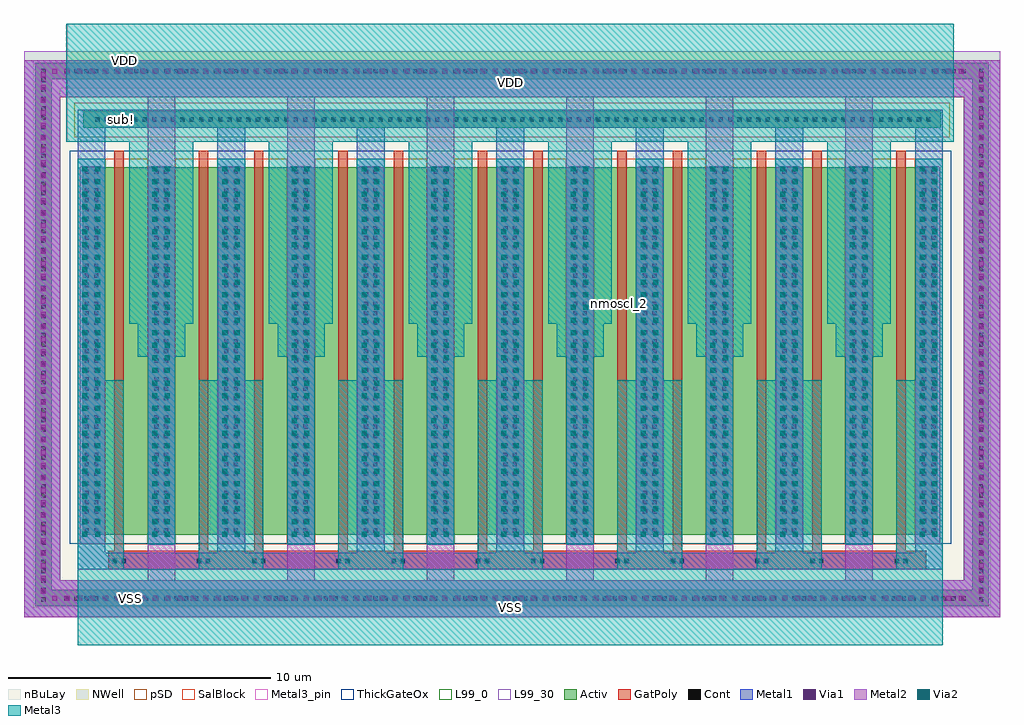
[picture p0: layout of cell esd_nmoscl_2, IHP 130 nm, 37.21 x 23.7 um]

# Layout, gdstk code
import gdstk
lib = gdstk.Library(unit=1e-6, precision=1e-09)
def R(c, l, rs):  # rectangles x0, y0, x1, y1
    for r in rs: c.add(gdstk.rectangle(r[:2], r[2:], *l))
def A(c, l, x, y, w, h, nx, ny, dx, dy):  # array of equal rectangles
    R(c, l, [(x+i*dx, y+j*dy, x+i*dx+w, y+j*dy+h) for i in range(nx) for j in range(ny)])
def P(c, l, *ps):  # polygons
    for p in ps: c.add(gdstk.Polygon(p, *l))
Activ = (1, 0)
GatPoly = (5, 0)
Cont = (6, 0)
Metal1 = (8, 0)
Metal2 = (10, 0)
pSD = (14, 0)
Via1 = (19, 0)
SalBlock = (28, 0)
Via2 = (29, 0)
Metal3 = (30, 0)
Metal3_pin = (30, 2)
NWell = (31, 0)
nBuLay = (32, 0)
ThickGateOx = (44, 0)
L99_0 = (99, 0)
L99_30 = (99, 30)

esd_nmoscl_2 = lib.new_cell('esd_nmoscl_2')
R(esd_nmoscl_2, Activ, [(0,16.71,32.71,17.34)])
P(esd_nmoscl_2, Activ, [(-1.83,-1.53),(-1.83,-0.9),(33.91,-0.9),(33.91,18.57),(-1.2,18.57),(-1.2,-0.9),(-1.83,-0.9),(-1.83,19.2),(34.54,19.2),(34.54,-1.53)],
  [(0,1.2),(0,1.21),(-0.005,1.21),(-0.005,15.19),(0,15.19),(0,15.21),(32.57,15.21),(32.57,15.19),(32.575,15.19),(32.575,1.21),(32.57,1.21),(32.57,1.2)])
P(esd_nmoscl_2, GatPoly, [(0.96,-0.12),(0.96,0.59),(1.2,0.59),(1.2,15.84),(1.56,15.84),(1.56,0.59),(4.41,0.59),(4.41,15.84),(4.77,15.84),(4.77,0.59),(6.52,0.59),(6.52,15.84),(6.88,15.84),(6.88,0.59),(9.73,0.59),(9.73,15.84),(10.09,15.84),(10.09,0.59),(11.84,0.59),(11.84,15.84),(12.2,15.84),(12.2,0.59),(15.05,0.59),(15.05,15.84),(15.41,15.84),(15.41,0.59),(17.16,0.59),(17.16,15.84),(17.52,15.84),(17.52,0.59),(20.37,0.59),(20.37,15.84),(20.73,15.84),(20.73,0.59),(22.48,0.59),(22.48,15.84),(22.84,15.84),(22.84,0.59),(25.69,0.59),(25.69,15.84),(26.05,15.84),(26.05,0.59),(27.8,0.59),(27.8,15.84),(28.16,15.84),(28.16,0.59),(31.01,0.59),(31.01,15.84),(31.37,15.84),(31.37,0.59),(32.14,0.59),(32.14,-0.12)])
A(esd_nmoscl_2, Cont, -1.59, -1.35, 0.16, 0.16, 1, 57, 0, 0.36)
A(esd_nmoscl_2, Cont, 34.17, -1.35, 0.16, 0.16, 1, 57, 0, 0.36)
A(esd_nmoscl_2, Cont, -0.71, -1.315, 0.16, 0.16, 91, 2, 0.38, 20.1)
A(esd_nmoscl_2, Cont, 0.065, 1.28, 0.16, 0.16, 1, 39, 0, 0.36)
A(esd_nmoscl_2, Cont, 0.425, 1.28, 0.16, 0.16, 1, 39, 0, 0.36)
A(esd_nmoscl_2, Cont, 2.725, 1.28, 0.16, 0.16, 1, 39, 0, 0.36)
A(esd_nmoscl_2, Cont, 3.085, 1.28, 0.16, 0.16, 1, 39, 0, 0.36)
A(esd_nmoscl_2, Cont, 5.385, 1.28, 0.16, 0.16, 1, 39, 0, 0.36)
A(esd_nmoscl_2, Cont, 5.745, 1.28, 0.16, 0.16, 1, 39, 0, 0.36)
A(esd_nmoscl_2, Cont, 8.045, 1.28, 0.16, 0.16, 1, 39, 0, 0.36)
A(esd_nmoscl_2, Cont, 8.405, 1.28, 0.16, 0.16, 1, 39, 0, 0.36)
A(esd_nmoscl_2, Cont, 10.705, 1.28, 0.16, 0.16, 1, 39, 0, 0.36)
A(esd_nmoscl_2, Cont, 11.065, 1.28, 0.16, 0.16, 1, 39, 0, 0.36)
A(esd_nmoscl_2, Cont, 13.365, 1.28, 0.16, 0.16, 1, 39, 0, 0.36)
A(esd_nmoscl_2, Cont, 13.725, 1.28, 0.16, 0.16, 1, 39, 0, 0.36)
A(esd_nmoscl_2, Cont, 16.025, 1.28, 0.16, 0.16, 1, 39, 0, 0.36)
A(esd_nmoscl_2, Cont, 16.385, 1.28, 0.16, 0.16, 1, 39, 0, 0.36)
A(esd_nmoscl_2, Cont, 18.685, 1.28, 0.16, 0.16, 1, 39, 0, 0.36)
A(esd_nmoscl_2, Cont, 19.045, 1.28, 0.16, 0.16, 1, 39, 0, 0.36)
A(esd_nmoscl_2, Cont, 21.345, 1.28, 0.16, 0.16, 1, 39, 0, 0.36)
A(esd_nmoscl_2, Cont, 21.705, 1.28, 0.16, 0.16, 1, 39, 0, 0.36)
A(esd_nmoscl_2, Cont, 24.005, 1.28, 0.16, 0.16, 1, 39, 0, 0.36)
A(esd_nmoscl_2, Cont, 24.365, 1.28, 0.16, 0.16, 1, 39, 0, 0.36)
A(esd_nmoscl_2, Cont, 26.665, 1.28, 0.16, 0.16, 1, 39, 0, 0.36)
A(esd_nmoscl_2, Cont, 27.025, 1.28, 0.16, 0.16, 1, 39, 0, 0.36)
A(esd_nmoscl_2, Cont, 29.325, 1.28, 0.16, 0.16, 1, 39, 0, 0.36)
A(esd_nmoscl_2, Cont, 29.685, 1.28, 0.16, 0.16, 1, 39, 0, 0.36)
A(esd_nmoscl_2, Cont, 31.985, 1.28, 0.16, 0.16, 1, 39, 0, 0.36)
A(esd_nmoscl_2, Cont, 32.345, 1.28, 0.16, 0.16, 1, 39, 0, 0.36)
A(esd_nmoscl_2, Cont, 0.47, 16.945, 0.16, 0.16, 89, 1, 0.36, 0)
R(esd_nmoscl_2, Cont, [(1.13,0.115,1.29,0.275), (1.47,0.115,1.63,0.275), (4.34,0.115,4.5,0.275), (4.68,0.115,4.84,0.275), (6.45,0.115,6.61,0.275), (6.79,0.115,6.95,0.275), (9.66,0.115,9.82,0.275), (10,0.115,10.16,0.275), (11.77,0.115,11.93,0.275), (12.11,0.115,12.27,0.275), (14.98,0.115,15.14,0.275), (15.32,0.115,15.48,0.275), (17.09,0.115,17.25,0.275), (17.43,0.115,17.59,0.275), (20.3,0.115,20.46,0.275), (20.64,0.115,20.8,0.275), (22.41,0.115,22.57,0.275), (22.75,0.115,22.91,0.275), (25.62,0.115,25.78,0.275), (25.96,0.115,26.12,0.275), (27.73,0.115,27.89,0.275), (28.07,0.115,28.23,0.275), (30.94,0.115,31.1,0.275), (31.28,0.115,31.44,0.275)])
P(esd_nmoscl_2, Metal1, [(23.74,0.81),(23.74,15.21),(23.87,15.21),(23.87,15.245),(24.64,15.245),(24.64,15.21),(24.79,15.21),(24.79,0.81)],
  [(29.06,0.81),(29.06,15.21),(29.19,15.21),(29.19,15.245),(29.96,15.245),(29.96,15.21),(30.11,15.21),(30.11,0.81)],
  [(18.42,0.81),(18.42,15.21),(18.55,15.21),(18.55,15.245),(19.32,15.245),(19.32,15.21),(19.47,15.21),(19.47,0.81)],
  [(-2.25,-1.95),(-2.25,-0.54),(33.58,-0.54),(33.58,17.88),(-0.87,17.88),(-0.87,-0.54),(-2.25,-0.54),(-2.25,19.29),(34.96,19.29),(34.96,-1.95)],
  [(2.46,0.81),(2.46,15.21),(2.59,15.21),(2.59,15.245),(3.36,15.245),(3.36,15.21),(3.51,15.21),(3.51,0.81)],
  [(13.1,0.81),(13.1,15.21),(13.23,15.21),(13.23,15.245),(14,15.245),(14,15.21),(14.15,15.21),(14.15,0.81)],
  [(-0.21,-0.12),(-0.21,0.51),(31.73,0.51),(31.73,16.71),(27.46,16.71),(27.46,0.51),(26.39,0.51),(26.39,16.71),(22.14,16.71),(22.14,0.51),(21.07,0.51),(21.07,16.71),(16.82,16.71),(16.82,0.51),(15.75,0.51),(15.75,16.71),(11.5,16.71),(11.5,0.51),(10.43,0.51),(10.43,16.71),(6.18,16.71),(6.18,0.51),(5.11,0.51),(5.11,16.71),(0.84,16.71),(0.84,0.51),(-0.21,0.51),(-0.21,17.4),(32.77,17.4),(32.77,17.37),(32.78,17.37),(32.78,-0.12)],
  [(7.78,0.81),(7.78,15.21),(7.91,15.21),(7.91,15.245),(8.68,15.245),(8.68,15.21),(8.83,15.21),(8.83,0.81)])
P(esd_nmoscl_2, Metal2, [(26.41,0.84),(26.41,15.21),(26.53,15.21),(26.53,15.24),(27.3,15.24),(27.3,15.21),(27.44,15.21),(27.44,0.84)],
  [(-0.12,0.84),(-0.12,15.21),(-0.07,15.21),(-0.07,15.24),(0.7,15.24),(0.7,15.21),(0.84,15.21),(0.84,0.84)],
  [(10.45,0.84),(10.45,15.21),(10.57,15.21),(10.57,15.24),(11.34,15.24),(11.34,15.21),(11.48,15.21),(11.48,0.84)],
  [(31.73,0.84),(31.73,15.21),(31.85,15.21),(31.85,15.24),(32.62,15.24),(32.62,15.21),(32.69,15.21),(32.69,0.84)],
  [(15.77,0.84),(15.77,15.21),(15.89,15.21),(15.89,15.24),(16.66,15.24),(16.66,15.21),(16.8,15.21),(16.8,0.84)],
  [(5.13,0.84),(5.13,15.21),(5.25,15.21),(5.25,15.24),(6.02,15.24),(6.02,15.21),(6.16,15.21),(6.16,0.84)],
  [(21.09,0.84),(21.09,15.21),(21.21,15.21),(21.21,15.24),(21.98,15.24),(21.98,15.21),(22.12,15.21),(22.12,0.84)],
  [(-2.25,-1.95),(-2.25,-0.54),(33.58,-0.54),(33.58,17.88),(30.11,17.88),(30.11,-0.54),(29.06,-0.54),(29.06,17.88),(24.79,17.88),(24.79,-0.54),(23.74,-0.54),(23.74,17.88),(19.47,17.88),(19.47,-0.54),(18.42,-0.54),(18.42,17.88),(14.15,17.88),(14.15,-0.54),(13.1,-0.54),(13.1,17.88),(8.83,17.88),(8.83,-0.54),(7.78,-0.54),(7.78,17.88),(3.51,17.88),(3.51,-0.54),(2.46,-0.54),(2.46,17.88),(-0.87,17.88),(-0.87,-0.54),(-2.25,-0.54),(-2.25,19.29),(34.96,19.29),(34.96,-1.95)])
R(esd_nmoscl_2, pSD, [(-0.33,16.35,33.04,17.67)])
A(esd_nmoscl_2, Via1, -1.175, -1.325, 0.19, 0.19, 73, 2, 0.48, 20.1)
A(esd_nmoscl_2, Via1, -1.605, -1.045, 0.19, 0.19, 1, 42, 0, 0.48)
A(esd_nmoscl_2, Via1, 34.155, -1.045, 0.19, 0.19, 1, 42, 0, 0.48)
A(esd_nmoscl_2, Via1, -0.02, 1.125, 0.19, 0.19, 1, 30, 0, 0.48)
A(esd_nmoscl_2, Via1, 0.46, 1.125, 0.19, 0.19, 1, 30, 0, 0.48)
A(esd_nmoscl_2, Via1, 2.64, 1.125, 0.19, 0.19, 1, 30, 0, 0.48)
A(esd_nmoscl_2, Via1, 3.12, 1.125, 0.19, 0.19, 1, 30, 0, 0.48)
A(esd_nmoscl_2, Via1, 5.3, 1.125, 0.19, 0.19, 1, 30, 0, 0.48)
A(esd_nmoscl_2, Via1, 5.78, 1.125, 0.19, 0.19, 1, 30, 0, 0.48)
A(esd_nmoscl_2, Via1, 7.96, 1.125, 0.19, 0.19, 1, 30, 0, 0.48)
A(esd_nmoscl_2, Via1, 8.44, 1.125, 0.19, 0.19, 1, 30, 0, 0.48)
A(esd_nmoscl_2, Via1, 10.62, 1.125, 0.19, 0.19, 1, 30, 0, 0.48)
A(esd_nmoscl_2, Via1, 11.1, 1.125, 0.19, 0.19, 1, 30, 0, 0.48)
A(esd_nmoscl_2, Via1, 13.28, 1.125, 0.19, 0.19, 1, 30, 0, 0.48)
A(esd_nmoscl_2, Via1, 13.76, 1.125, 0.19, 0.19, 1, 30, 0, 0.48)
A(esd_nmoscl_2, Via1, 15.94, 1.125, 0.19, 0.19, 1, 30, 0, 0.48)
A(esd_nmoscl_2, Via1, 16.42, 1.125, 0.19, 0.19, 1, 30, 0, 0.48)
A(esd_nmoscl_2, Via1, 18.6, 1.125, 0.19, 0.19, 1, 30, 0, 0.48)
A(esd_nmoscl_2, Via1, 19.08, 1.125, 0.19, 0.19, 1, 30, 0, 0.48)
A(esd_nmoscl_2, Via1, 21.26, 1.125, 0.19, 0.19, 1, 30, 0, 0.48)
A(esd_nmoscl_2, Via1, 21.74, 1.125, 0.19, 0.19, 1, 30, 0, 0.48)
A(esd_nmoscl_2, Via1, 23.92, 1.125, 0.19, 0.19, 1, 30, 0, 0.48)
A(esd_nmoscl_2, Via1, 24.4, 1.125, 0.19, 0.19, 1, 30, 0, 0.48)
A(esd_nmoscl_2, Via1, 26.58, 1.125, 0.19, 0.19, 1, 30, 0, 0.48)
A(esd_nmoscl_2, Via1, 27.06, 1.125, 0.19, 0.19, 1, 30, 0, 0.48)
A(esd_nmoscl_2, Via1, 29.24, 1.125, 0.19, 0.19, 1, 30, 0, 0.48)
A(esd_nmoscl_2, Via1, 29.72, 1.125, 0.19, 0.19, 1, 30, 0, 0.48)
A(esd_nmoscl_2, Via1, 31.9, 1.125, 0.19, 0.19, 1, 30, 0, 0.48)
A(esd_nmoscl_2, Via1, 32.38, 1.125, 0.19, 0.19, 1, 30, 0, 0.48)
R(esd_nmoscl_2, SalBlock, [(0.84,0.84,2.46,15.54), (3.51,0.84,5.13,15.54), (6.16,0.84,7.78,15.54), (8.83,0.84,10.45,15.54), (11.48,0.84,13.1,15.54), (14.15,0.84,15.77,15.54), (16.8,0.84,18.42,15.54), (19.47,0.84,21.09,15.54), (22.12,0.84,23.74,15.54), (24.79,0.84,26.41,15.54), (27.44,0.84,29.06,15.54), (30.11,0.84,31.73,15.54)])
A(esd_nmoscl_2, Via2, -0.02, 1.125, 0.19, 0.19, 1, 30, 0, 0.48)
A(esd_nmoscl_2, Via2, 0.46, 1.125, 0.19, 0.19, 1, 30, 0, 0.48)
A(esd_nmoscl_2, Via2, 2.64, 1.125, 0.19, 0.19, 1, 30, 0, 0.48)
A(esd_nmoscl_2, Via2, 3.12, 1.125, 0.19, 0.19, 1, 30, 0, 0.48)
A(esd_nmoscl_2, Via2, 5.3, 1.125, 0.19, 0.19, 1, 30, 0, 0.48)
A(esd_nmoscl_2, Via2, 5.78, 1.125, 0.19, 0.19, 1, 30, 0, 0.48)
A(esd_nmoscl_2, Via2, 7.96, 1.125, 0.19, 0.19, 1, 30, 0, 0.48)
A(esd_nmoscl_2, Via2, 8.44, 1.125, 0.19, 0.19, 1, 30, 0, 0.48)
A(esd_nmoscl_2, Via2, 10.62, 1.125, 0.19, 0.19, 1, 30, 0, 0.48)
A(esd_nmoscl_2, Via2, 11.1, 1.125, 0.19, 0.19, 1, 30, 0, 0.48)
A(esd_nmoscl_2, Via2, 13.28, 1.125, 0.19, 0.19, 1, 30, 0, 0.48)
A(esd_nmoscl_2, Via2, 13.76, 1.125, 0.19, 0.19, 1, 30, 0, 0.48)
A(esd_nmoscl_2, Via2, 15.94, 1.125, 0.19, 0.19, 1, 30, 0, 0.48)
A(esd_nmoscl_2, Via2, 16.42, 1.125, 0.19, 0.19, 1, 30, 0, 0.48)
A(esd_nmoscl_2, Via2, 18.6, 1.125, 0.19, 0.19, 1, 30, 0, 0.48)
A(esd_nmoscl_2, Via2, 19.08, 1.125, 0.19, 0.19, 1, 30, 0, 0.48)
A(esd_nmoscl_2, Via2, 21.26, 1.125, 0.19, 0.19, 1, 30, 0, 0.48)
A(esd_nmoscl_2, Via2, 21.74, 1.125, 0.19, 0.19, 1, 30, 0, 0.48)
A(esd_nmoscl_2, Via2, 23.92, 1.125, 0.19, 0.19, 1, 30, 0, 0.48)
A(esd_nmoscl_2, Via2, 24.4, 1.125, 0.19, 0.19, 1, 30, 0, 0.48)
A(esd_nmoscl_2, Via2, 26.58, 1.125, 0.19, 0.19, 1, 30, 0, 0.48)
A(esd_nmoscl_2, Via2, 27.06, 1.125, 0.19, 0.19, 1, 30, 0, 0.48)
A(esd_nmoscl_2, Via2, 29.24, 1.125, 0.19, 0.19, 1, 30, 0, 0.48)
A(esd_nmoscl_2, Via2, 29.72, 1.125, 0.19, 0.19, 1, 30, 0, 0.48)
A(esd_nmoscl_2, Via2, 31.9, 1.125, 0.19, 0.19, 1, 30, 0, 0.48)
A(esd_nmoscl_2, Via2, 32.38, 1.125, 0.19, 0.19, 1, 30, 0, 0.48)
P(esd_nmoscl_2, Metal3, [(2.46,0.84),(2.46,7.98),(2.095,7.98),(2.095,9.24),(1.77,9.24),(1.77,16.17),(-0.63,16.17),(-0.63,20.68),(33.2,20.68),(33.2,16.17),(30.8,16.17),(30.8,9.24),(30.495,9.24),(30.495,7.98),(30.11,7.98),(30.11,0.84),(29.06,0.84),(29.06,7.98),(28.695,7.98),(28.695,9.24),(28.37,9.24),(28.37,16.17),(25.48,16.17),(25.48,9.24),(25.175,9.24),(25.175,7.98),(24.79,7.98),(24.79,0.84),(23.74,0.84),(23.74,7.98),(23.375,7.98),(23.375,9.24),(23.05,9.24),(23.05,16.17),(20.16,16.17),(20.16,9.24),(19.855,9.24),(19.855,7.98),(19.47,7.98),(19.47,0.84),(18.42,0.84),(18.42,7.98),(18.055,7.98),(18.055,9.24),(17.73,9.24),(17.73,16.17),(14.84,16.17),(14.84,9.24),(14.535,9.24),(14.535,7.98),(14.15,7.98),(14.15,0.84),(13.1,0.84),(13.1,7.98),(12.735,7.98),(12.735,9.24),(12.41,9.24),(12.41,16.17),(9.52,16.17),(9.52,9.24),(9.215,9.24),(9.215,7.98),(8.83,7.98),(8.83,0.84),(7.78,0.84),(7.78,7.98),(7.415,7.98),(7.415,9.24),(7.09,9.24),(7.09,16.17),(4.2,16.17),(4.2,9.24),(3.895,9.24),(3.895,7.98),(3.51,7.98),(3.51,0.84)],
  [(-0.21,-3.02),(-0.21,15.54),(0.84,15.54),(0.84,7.08),(1.56,7.08),(1.56,-0.12),(4.41,-0.12),(4.41,7.08),(5.11,7.08),(5.11,15.54),(6.18,15.54),(6.18,7.08),(6.88,7.08),(6.88,-0.12),(9.73,-0.12),(9.73,7.08),(10.43,7.08),(10.43,15.54),(11.5,15.54),(11.5,7.08),(12.2,7.08),(12.2,-0.12),(15.05,-0.12),(15.05,7.08),(15.75,7.08),(15.75,15.54),(16.82,15.54),(16.82,7.08),(17.52,7.08),(17.52,-0.12),(20.37,-0.12),(20.37,7.08),(21.07,7.08),(21.07,15.54),(22.14,15.54),(22.14,7.08),(22.84,7.08),(22.84,-0.12),(25.69,-0.12),(25.69,7.08),(26.39,7.08),(26.39,15.54),(27.46,15.54),(27.46,7.08),(28.16,7.08),(28.16,-0.12),(31.01,-0.12),(31.01,7.08),(31.73,7.08),(31.73,15.54),(32.78,15.54),(32.78,-3.02)])
R(esd_nmoscl_2, Metal3_pin, [(-0.21,-3.02,32.78,-0.12), (-0.61,16.17,33.2,20.68)])
P(esd_nmoscl_2, NWell, [(-2.25,-1.95),(-2.25,-0.54),(33.58,-0.54),(33.58,18.21),(-0.87,18.21),(-0.87,-0.54),(-2.25,-0.54),(-2.25,19.62),(34.96,19.62),(34.96,-1.95)])
R(esd_nmoscl_2, nBuLay, [(-1.89,-1.59,34.6,19.26)])
R(esd_nmoscl_2, ThickGateOx, [(-0.515,0.86,33.095,15.845)])
R(esd_nmoscl_2, L99_0, [(-2.25,-1.95,34.96,19.62)])
R(esd_nmoscl_2, L99_30, [(-2.25,-1.95,34.96,19.62)])
esd_nmoscl_2.add(gdstk.Label('VSS', (1.811,-1.245), layer=63, texttype=0))
esd_nmoscl_2.add(gdstk.Label('VDD', (1.592,19.26), layer=63, texttype=0))
esd_nmoscl_2.add(gdstk.Label('sub!', (1.45,17.01), layer=63, texttype=0))
esd_nmoscl_2.add(gdstk.Label('nmoscl_2', (20.45,10.01), layer=63, texttype=0))
esd_nmoscl_2.add(gdstk.Label('sub!', (1.45,17.01), layer=40, texttype=0))
esd_nmoscl_2.add(gdstk.Label('VSS', (16.285,-1.57), layer=30, texttype=25))
esd_nmoscl_2.add(gdstk.Label('VDD', (16.295,18.425), layer=30, texttype=25))

lib.write_gds('esd_nmoscl_2.gds')
